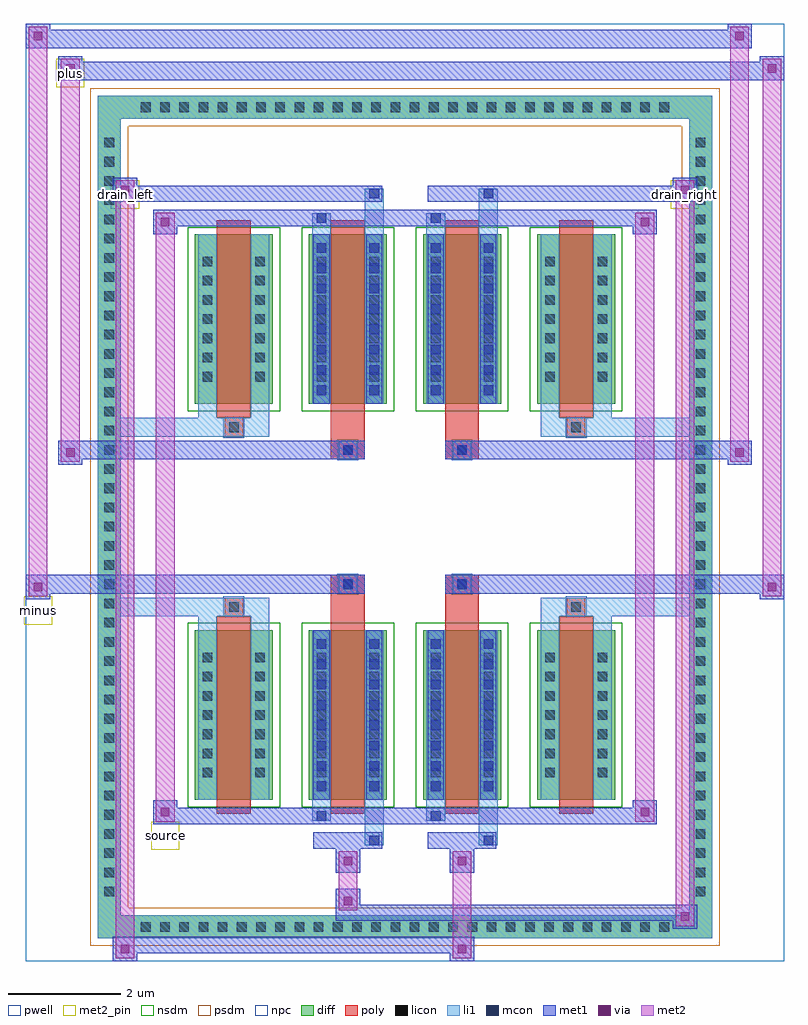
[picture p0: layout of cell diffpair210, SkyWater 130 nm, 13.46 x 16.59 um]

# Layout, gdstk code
import gdstk
lib = gdstk.Library(unit=1e-6, precision=5e-09)
def R(c, l, rs):  # rectangles x0, y0, x1, y1
    for r in rs: c.add(gdstk.rectangle(r[:2], r[2:], *l))
def A(c, l, x, y, w, h, nx, ny, dx, dy):  # array of equal rectangles
    R(c, l, [(x+i*dx, y+j*dy, x+i*dx+w, y+j*dy+h) for i in range(nx) for j in range(ny)])
def P(c, l, *ps):  # polygons
    for p in ps: c.add(gdstk.Polygon(p, *l))
pwell = (64, 44)
diff = (65, 20)
poly = (66, 20)
licon = (66, 44)
li1 = (67, 20)
mcon = (67, 44)
met1 = (68, 20)
via = (68, 44)
met2_pin = (69, 16)
met2 = (69, 20)
nsdm = (93, 44)
psdm = (94, 20)
npc = (95, 20)

diffpair210 = lib.new_cell('diffpair210')
R(diffpair210, pwell, [(-6.71,-7.86,6.71,8.73), (-4.03,-6.05,-0.01,-0.825), (0.01,-6.05,4.03,-0.825), (-4.03,0.825,-0.01,6.05), (0.01,0.825,4.03,6.05)])
A(diffpair210, diff, -4.795, -7.46, 0.41, 0.41, 28, 2, 0.34, 14.51)
A(diffpair210, diff, -5.44, -6.835, 0.41, 0.41, 1, 40, 0, 0.34)
A(diffpair210, diff, 5.03, -6.835, 0.41, 0.41, 1, 40, 0, 0.34)
A(diffpair210, diff, -3.72, -5.005, 1.38, 3, 4, 2, 2.02, 7.01)
R(diffpair210, diff, [(-4.795,-7.46,4.795,-7.05), (-5.44,-6.835,-5.03,6.835), (5.03,-6.835,5.44,6.835), (-4.795,7.05,4.795,7.46)])
P(diffpair210, diff, [(5.44,7.46),(-5.44,7.46),(-5.44,-7.05),(-5.03,-7.05),(-5.03,7.05),(5.03,7.05),(5.03,-7.05),(-5.03,-7.05),(-5.44,-7.05),(-5.44,-7.46),(5.44,-7.46)])
A(diffpair210, poly, -3.33, -5.255, 0.6, 3.5, 4, 2, 2.02, 7.01)
R(diffpair210, poly, [(-3.195,-1.755,-2.865,-1.425), (-3.195,-1.755,-2.865,-1.425), (-1.31,-1.755,-0.71,-1.355), (0.71,-1.755,1.31,-1.355), (2.865,-1.755,3.195,-1.425), (2.865,-1.755,3.195,-1.425), (-1.31,-1.355,-0.71,-1.025), (-1.175,-1.355,-0.845,-1.025), (0.71,-1.355,1.31,-1.025), (0.845,-1.355,1.175,-1.025), (-1.31,1.025,-0.71,1.355), (-1.175,1.025,-0.845,1.355), (0.71,1.025,1.31,1.355), (0.845,1.025,1.175,1.355), (-1.31,1.355,-0.71,1.755), (0.71,1.355,1.31,1.755), (-3.195,1.425,-2.865,1.755), (-3.195,1.425,-2.865,1.755), (2.865,1.425,3.195,1.755), (2.865,1.425,3.195,1.755)])
A(diffpair210, licon, -4.675, -7.34, 0.17, 0.17, 28, 2, 0.34, 14.51)
A(diffpair210, licon, -5.32, -6.715, 0.17, 0.17, 1, 40, 0, 0.34)
A(diffpair210, licon, 5.15, -6.715, 0.17, 0.17, 1, 40, 0, 0.34)
A(diffpair210, licon, -3.58, -4.61, 0.17, 0.17, 1, 7, 0, 0.34)
A(diffpair210, licon, -2.65, -4.61, 0.17, 0.17, 1, 7, 0, 0.34)
A(diffpair210, licon, -1.56, -4.61, 0.17, 0.17, 1, 7, 0, 0.34)
A(diffpair210, licon, -0.63, -4.61, 0.17, 0.17, 1, 7, 0, 0.34)
A(diffpair210, licon, 0.46, -4.61, 0.17, 0.17, 1, 7, 0, 0.34)
A(diffpair210, licon, 1.39, -4.61, 0.17, 0.17, 1, 7, 0, 0.34)
A(diffpair210, licon, 2.48, -4.61, 0.17, 0.17, 1, 7, 0, 0.34)
A(diffpair210, licon, 3.41, -4.61, 0.17, 0.17, 1, 7, 0, 0.34)
A(diffpair210, licon, -3.58, 2.4, 0.17, 0.17, 1, 7, 0, 0.34)
A(diffpair210, licon, -2.65, 2.4, 0.17, 0.17, 1, 7, 0, 0.34)
A(diffpair210, licon, -1.56, 2.4, 0.17, 0.17, 1, 7, 0, 0.34)
A(diffpair210, licon, -0.63, 2.4, 0.17, 0.17, 1, 7, 0, 0.34)
A(diffpair210, licon, 0.46, 2.4, 0.17, 0.17, 1, 7, 0, 0.34)
A(diffpair210, licon, 1.39, 2.4, 0.17, 0.17, 1, 7, 0, 0.34)
A(diffpair210, licon, 2.48, 2.4, 0.17, 0.17, 1, 7, 0, 0.34)
A(diffpair210, licon, 3.41, 2.4, 0.17, 0.17, 1, 7, 0, 0.34)
R(diffpair210, licon, [(-3.115,-1.675,-2.945,-1.505), (2.945,-1.675,3.115,-1.505), (-1.095,-1.275,-0.925,-1.105), (0.925,-1.275,1.095,-1.105), (-1.095,1.105,-0.925,1.275), (0.925,1.105,1.095,1.275), (-3.115,1.505,-2.945,1.675), (2.945,1.505,3.115,1.675)])
A(diffpair210, li1, -4.755, -7.42, 0.33, 0.33, 28, 2, 0.34, 14.51)
A(diffpair210, li1, -5.4, -6.795, 0.33, 0.33, 1, 40, 0, 0.34)
A(diffpair210, li1, 5.07, -6.795, 0.33, 0.33, 1, 40, 0, 0.34)
A(diffpair210, li1, -1.56, -4.85, 0.17, 0.17, 1, 8, 0, 0.36)
A(diffpair210, li1, -0.63, -4.85, 0.17, 0.17, 1, 8, 0, 0.36)
A(diffpair210, li1, 0.46, -4.85, 0.17, 0.17, 1, 8, 0, 0.36)
A(diffpair210, li1, 1.39, -4.85, 0.17, 0.17, 1, 8, 0, 0.36)
A(diffpair210, li1, -3.66, -4.69, 0.33, 0.33, 1, 7, 0, 0.34)
A(diffpair210, li1, -2.73, -4.69, 0.33, 0.33, 1, 7, 0, 0.34)
A(diffpair210, li1, -1.64, -4.69, 0.33, 0.33, 1, 7, 0, 0.34)
A(diffpair210, li1, -0.71, -4.69, 0.33, 0.33, 1, 7, 0, 0.34)
A(diffpair210, li1, 0.38, -4.69, 0.33, 0.33, 1, 7, 0, 0.34)
A(diffpair210, li1, 1.31, -4.69, 0.33, 0.33, 1, 7, 0, 0.34)
A(diffpair210, li1, 2.4, -4.69, 0.33, 0.33, 1, 7, 0, 0.34)
A(diffpair210, li1, 3.33, -4.69, 0.33, 0.33, 1, 7, 0, 0.34)
A(diffpair210, li1, -1.56, 2.16, 0.17, 0.17, 1, 8, 0, 0.36)
A(diffpair210, li1, -0.63, 2.16, 0.17, 0.17, 1, 8, 0, 0.36)
A(diffpair210, li1, 0.46, 2.16, 0.17, 0.17, 1, 8, 0, 0.36)
A(diffpair210, li1, 1.39, 2.16, 0.17, 0.17, 1, 8, 0, 0.36)
A(diffpair210, li1, -3.66, 2.32, 0.33, 0.33, 1, 7, 0, 0.34)
A(diffpair210, li1, -2.73, 2.32, 0.33, 0.33, 1, 7, 0, 0.34)
A(diffpair210, li1, -1.64, 2.32, 0.33, 0.33, 1, 7, 0, 0.34)
A(diffpair210, li1, -0.71, 2.32, 0.33, 0.33, 1, 7, 0, 0.34)
A(diffpair210, li1, 0.38, 2.32, 0.33, 0.33, 1, 7, 0, 0.34)
A(diffpair210, li1, 1.31, 2.32, 0.33, 0.33, 1, 7, 0, 0.34)
A(diffpair210, li1, 2.4, 2.32, 0.33, 0.33, 1, 7, 0, 0.34)
A(diffpair210, li1, 3.33, 2.32, 0.33, 0.33, 1, 7, 0, 0.34)
R(diffpair210, li1, [(-5.44,-7.46,-5.03,-7.05), (-5.44,-7.46,-5.03,-7.05), (-5.03,-7.46,5.03,-7.05), (5.03,-7.46,5.44,-7.05), (5.03,-7.46,5.44,-7.05), (-5.44,-7.05,-5.03,7.05), (5.03,-7.05,5.44,7.05), (-0.71,-5.81,-0.38,-5.005), (-0.63,-5.81,-0.46,-5.64), (1.31,-5.81,1.64,-5.005), (1.39,-5.81,1.56,-5.64), (-1.64,-5.38,-1.31,-5.005), (-1.56,-5.38,-1.39,-5.21), (0.38,-5.38,0.71,-5.005), (0.46,-5.38,0.63,-5.21), (-3.66,-5.005,-3.33,-2.005), (-2.73,-5.005,-2.4,-2.005), (-1.64,-5.005,-1.31,-2.005), (-0.71,-5.005,-0.38,-2.005), (0.38,-5.005,0.71,-2.005), (1.31,-5.005,1.64,-2.005), (2.4,-5.005,2.73,-2.005), (3.33,-5.005,3.66,-2.005), (-1.56,-4.85,-1.39,-2.16), (-0.63,-4.85,-0.46,-2.16), (0.46,-4.85,0.63,-2.16), (1.39,-4.85,1.56,-2.16), (-3.66,-2.005,-3.33,-1.425), (-2.73,-2.005,-2.4,-1.425), (2.4,-2.005,2.73,-1.425), (3.33,-2.005,3.66,-1.425), (-5.44,-1.755,-3.195,-1.425), (-3.66,-1.755,-3.195,-1.425), (-3.195,-1.755,-2.865,-1.425), (-2.865,-1.755,-2.4,-1.425), (2.4,-1.755,2.865,-1.425), (2.865,-1.755,3.195,-1.425), (2.865,-1.755,5.44,-1.425), (3.195,-1.755,3.66,-1.425), (-1.175,-1.355,-0.845,-1.025), (0.845,-1.355,1.175,-1.025), (-1.175,1.025,-0.845,1.355), (0.845,1.025,1.175,1.355), (-5.44,1.425,-3.195,1.755), (-3.66,1.425,-3.195,1.755), (-3.66,1.425,-3.33,2.005), (-3.195,1.425,-2.865,1.755), (-2.865,1.425,-2.4,1.755), (-2.73,1.425,-2.4,2.005), (2.4,1.425,2.865,1.755), (2.4,1.425,2.73,2.005), (2.865,1.425,3.195,1.755), (2.865,1.425,5.44,1.755), (3.195,1.425,3.66,1.755), (3.33,1.425,3.66,2.005), (-3.66,2.005,-3.33,5.005), (-2.73,2.005,-2.4,5.005), (-1.64,2.005,-1.31,5.005), (-0.71,2.005,-0.38,5.005), (0.38,2.005,0.71,5.005), (1.31,2.005,1.64,5.005), (2.4,2.005,2.73,5.005), (3.33,2.005,3.66,5.005), (-1.56,2.16,-1.39,4.85), (-0.63,2.16,-0.46,4.85), (0.46,2.16,0.63,4.85), (1.39,2.16,1.56,4.85), (-1.64,5.005,-1.31,5.38), (-0.71,5.005,-0.38,5.81), (0.38,5.005,0.71,5.38), (1.31,5.005,1.64,5.81), (-1.56,5.21,-1.39,5.38), (0.46,5.21,0.63,5.38), (-0.63,5.64,-0.46,5.81), (1.39,5.64,1.56,5.81), (-5.44,7.05,-5.03,7.46), (-5.44,7.05,-5.03,7.46), (-5.03,7.05,5.03,7.46), (5.03,7.05,5.44,7.46), (5.03,7.05,5.44,7.46)])
A(diffpair210, mcon, -1.56, -4.85, 0.17, 0.17, 1, 8, 0, 0.36)
A(diffpair210, mcon, -0.63, -4.85, 0.17, 0.17, 1, 8, 0, 0.36)
A(diffpair210, mcon, 0.46, -4.85, 0.17, 0.17, 1, 8, 0, 0.36)
A(diffpair210, mcon, 1.39, -4.85, 0.17, 0.17, 1, 8, 0, 0.36)
A(diffpair210, mcon, -1.56, 2.16, 0.17, 0.17, 1, 8, 0, 0.36)
A(diffpair210, mcon, -0.63, 2.16, 0.17, 0.17, 1, 8, 0, 0.36)
A(diffpair210, mcon, 0.46, 2.16, 0.17, 0.17, 1, 8, 0, 0.36)
A(diffpair210, mcon, 1.39, 2.16, 0.17, 0.17, 1, 8, 0, 0.36)
R(diffpair210, mcon, [(-0.63,-5.81,-0.46,-5.64), (1.39,-5.81,1.56,-5.64), (-1.56,-5.38,-1.39,-5.21), (0.46,-5.38,0.63,-5.21), (-1.095,-1.275,-0.925,-1.105), (0.925,-1.275,1.095,-1.105), (-1.095,1.105,-0.925,1.275), (0.925,1.105,1.095,1.275), (-1.56,5.21,-1.39,5.38), (0.46,5.21,0.63,5.38), (-0.63,5.64,-0.46,5.81), (1.39,5.64,1.56,5.81)])
A(diffpair210, met1, -1.62, -4.91, 0.29, 0.29, 1, 8, 0, 0.36)
A(diffpair210, met1, -0.69, -4.91, 0.29, 0.29, 1, 8, 0, 0.36)
A(diffpair210, met1, 0.4, -4.91, 0.29, 0.29, 1, 8, 0, 0.36)
A(diffpair210, met1, 1.33, -4.91, 0.29, 0.29, 1, 8, 0, 0.36)
A(diffpair210, met1, -1.62, 2.1, 0.29, 0.29, 1, 8, 0, 0.36)
A(diffpair210, met1, -0.69, 2.1, 0.29, 0.29, 1, 8, 0, 0.36)
A(diffpair210, met1, 0.4, 2.1, 0.29, 0.29, 1, 8, 0, 0.36)
A(diffpair210, met1, 1.33, 2.1, 0.29, 0.29, 1, 8, 0, 0.36)
R(diffpair210, met1, [(-5.17,-7.86,-4.74,-7.43), (0.795,-7.86,1.225,-7.43), (-5.17,-7.72,1.225,-7.43), (4.74,-7.29,5.17,-6.86), (-1.225,-7.15,5.17,-6.86), (-1.225,-7.01,-0.795,-6.58), (-1.225,-6.3,-0.795,-5.87), (0.795,-6.3,1.225,-5.87), (-1.62,-5.87,-0.4,-5.58), (-0.69,-5.87,-0.4,-5.58), (0.4,-5.87,1.62,-5.58), (1.33,-5.87,1.62,-5.58), (-4.46,-5.44,-4.03,-5.01), (-4.46,-5.44,-1.62,-5.15), (-1.62,-5.44,-1.33,-5.15), (-1.62,-5.44,-0.4,-5.15), (-0.4,-5.44,0.4,-5.15), (0.4,-5.44,0.69,-5.15), (0.4,-5.44,1.62,-5.15), (1.62,-5.44,4.46,-5.15), (4.03,-5.44,4.46,-5.01), (-1.62,-5.005,-1.33,-2.005), (-0.69,-5.005,-0.4,-2.005), (0.4,-5.005,0.69,-2.005), (1.33,-5.005,1.62,-2.005), (-6.71,-1.455,-6.28,-1.025), (6.28,-1.455,6.71,-1.025), (-6.71,-1.355,-0.71,-1.025), (-1.31,-1.355,-0.71,-1.025), (0.71,-1.355,1.31,-1.025), (0.71,-1.355,6.71,-1.025), (-1.155,-1.335,-0.865,-1.045), (0.865,-1.335,1.155,-1.045), (-6.14,0.925,-5.71,1.355), (5.71,0.925,6.14,1.355), (-6.14,1.025,-1.31,1.355), (-1.31,1.025,-0.71,1.355), (0.71,1.025,1.31,1.355), (1.31,1.025,6.14,1.355), (-1.155,1.045,-0.865,1.335), (0.865,1.045,1.155,1.335), (-1.62,2.005,-1.33,5.005), (-0.69,2.005,-0.4,5.005), (0.4,2.005,0.69,5.005), (1.33,2.005,1.62,5.005), (-4.46,5.01,-4.03,5.44), (4.03,5.01,4.46,5.44), (-4.46,5.15,-1.62,5.44), (-1.62,5.15,-1.33,5.44), (-1.62,5.15,-0.4,5.44), (-0.4,5.15,0.4,5.44), (0.4,5.15,0.69,5.44), (0.4,5.15,1.62,5.44), (1.62,5.15,4.46,5.44), (-5.17,5.58,-4.74,6.01), (-5.17,5.58,-1.62,5.87), (-1.62,5.58,-0.4,5.87), (-0.69,5.58,-0.4,5.87), (0.4,5.58,1.62,5.87), (1.33,5.58,1.62,5.87), (1.62,5.58,5.17,5.87), (4.74,5.58,5.17,6.01), (-6.14,7.73,-5.71,8.16), (-6.14,7.73,-4.03,8.06), (-4.03,7.73,4.03,8.06), (4.03,7.73,6.71,8.06), (6.28,7.73,6.71,8.16), (-6.71,8.3,-6.28,8.73), (-6.71,8.3,-4.03,8.63), (-4.03,8.3,4.03,8.63), (4.03,8.3,6.14,8.63), (5.71,8.3,6.14,8.73)])
R(diffpair210, via, [(-5.03,-7.72,-4.88,-7.57), (0.935,-7.72,1.085,-7.57), (4.88,-7.15,5.03,-7), (-1.085,-6.87,-0.935,-6.72), (-1.085,-6.16,-0.935,-6.01), (0.935,-6.16,1.085,-6.01), (-4.32,-5.3,-4.17,-5.15), (4.17,-5.3,4.32,-5.15), (-6.57,-1.315,-6.42,-1.165), (6.42,-1.315,6.57,-1.165), (-6,1.065,-5.85,1.215), (5.85,1.065,6,1.215), (-4.32,5.15,-4.17,5.3), (4.17,5.15,4.32,5.3), (-5.03,5.72,-4.88,5.87), (4.88,5.72,5.03,5.87), (-6,7.87,-5.85,8.02), (6.42,7.87,6.57,8.02), (-6.57,8.44,-6.42,8.59), (5.85,8.44,6,8.59)])
R(diffpair210, met2_pin, [(-4.495,-5.89,-3.995,-5.39), (-6.745,-1.905,-6.245,-1.405), (-5.205,5.46,-4.705,5.96), (4.705,5.46,5.205,5.96), (-6.175,7.61,-5.675,8.11)])
R(diffpair210, met2, [(-5.12,-7.81,-4.79,-7.48), (-5.12,-7.81,-4.79,5.96), (0.845,-7.81,1.175,-7.48), (0.845,-7.48,1.175,-6.25), (4.79,-7.24,5.12,-6.91), (4.79,-7.24,5.12,5.96), (-1.175,-6.96,-0.845,-6.63), (-1.175,-6.63,-0.845,-6.25), (-1.175,-6.25,-0.845,-5.92), (0.845,-6.25,1.175,-5.92), (-4.41,-5.39,-4.08,-5.06), (-4.41,-5.39,-4.08,5.39), (4.08,-5.39,4.41,-5.06), (4.08,-5.39,4.41,5.39), (-6.66,-1.405,-6.33,-1.075), (-6.66,-1.405,-6.33,8.68), (6.33,-1.405,6.66,-1.075), (6.33,-1.405,6.66,8.11), (-6.09,0.975,-5.76,1.305), (-6.09,0.975,-5.76,8.11), (5.76,0.975,6.09,1.305), (5.76,0.975,6.09,8.68), (-4.41,5.06,-4.08,5.39), (4.08,5.06,4.41,5.39), (-5.12,5.63,-4.79,5.96), (4.79,5.63,5.12,5.96), (-6.09,7.78,-5.76,8.11), (6.33,7.78,6.66,8.11), (-6.66,8.35,-6.33,8.68), (5.76,8.35,6.09,8.68)])
P(diffpair210, met2, [(6.66,-1.405),(6.66,-1.405),(6.66,-1.075),(6.66,-1.075)],
  [(6.66,7.78),(6.66,7.78),(6.66,8.11),(6.66,8.11)],
  [(-6.33,-1.405),(-6.33,-1.405),(-6.33,-1.075),(-6.33,-1.075)],
  [(-6.33,8.35),(-6.33,8.35),(-6.33,8.68),(-6.33,8.68)],
  [(6.09,0.975),(6.09,0.975),(6.09,1.305),(6.09,1.305)],
  [(6.09,8.35),(6.09,8.35),(6.09,8.68),(6.09,8.68)],
  [(-5.76,0.975),(-5.76,0.975),(-5.76,1.305),(-5.76,1.305)],
  [(-5.76,7.78),(-5.76,7.78),(-5.76,8.11),(-5.76,8.11)],
  [(-4.79,-7.81),(-4.79,-7.81),(-4.79,-7.48),(-4.79,-7.48)],
  [(-4.79,5.63),(-4.79,5.63),(-4.79,5.96),(-4.79,5.96)],
  [(5.12,-7.24),(5.12,-7.24),(5.12,-6.91),(5.12,-6.91)],
  [(5.12,5.63),(5.12,5.63),(5.12,5.96),(5.12,5.96)],
  [(-4.08,-5.39),(-4.08,-5.39),(-4.08,-5.06),(-4.08,-5.06)],
  [(-4.08,5.06),(-4.08,5.06),(-4.08,5.39),(-4.08,5.39)],
  [(4.41,-5.39),(4.41,-5.39),(4.41,-5.06),(4.41,-5.06)],
  [(4.41,5.06),(4.41,5.06),(4.41,5.39),(4.41,5.39)])
A(diffpair210, nsdm, -3.85, -5.135, 1.64, 3.26, 4, 2, 2.02, 7.01)
P(diffpair210, psdm, [(5.57,7.59),(-5.57,7.59),(-5.57,-6.92),(-4.9,-6.92),(-4.9,6.92),(4.9,6.92),(4.9,-6.92),(-4.9,-6.92),(-5.57,-6.92),(-5.57,-7.59),(5.57,-7.59)])
R(diffpair210, npc, [(-3.215,-1.775,-2.845,-1.405), (2.845,-1.775,3.215,-1.405), (-1.195,-1.375,-0.825,-1.005), (0.825,-1.375,1.195,-1.005), (-1.195,1.005,-0.825,1.375), (0.825,1.005,1.195,1.375), (-3.215,1.405,-2.845,1.775), (2.845,1.405,3.215,1.775)])
diffpair210.add(gdstk.Label('minus', (-6.495,-1.655), layer=69, texttype=5))
diffpair210.add(gdstk.Label('drain_right', (4.955,5.71), layer=69, texttype=5))
diffpair210.add(gdstk.Label('drain_left', (-4.955,5.71), layer=69, texttype=5))
diffpair210.add(gdstk.Label('source', (-4.245,-5.64), layer=69, texttype=5))
diffpair210.add(gdstk.Label('plus', (-5.925,7.86), layer=69, texttype=5))

lib.write_gds('diffpair210.gds')
